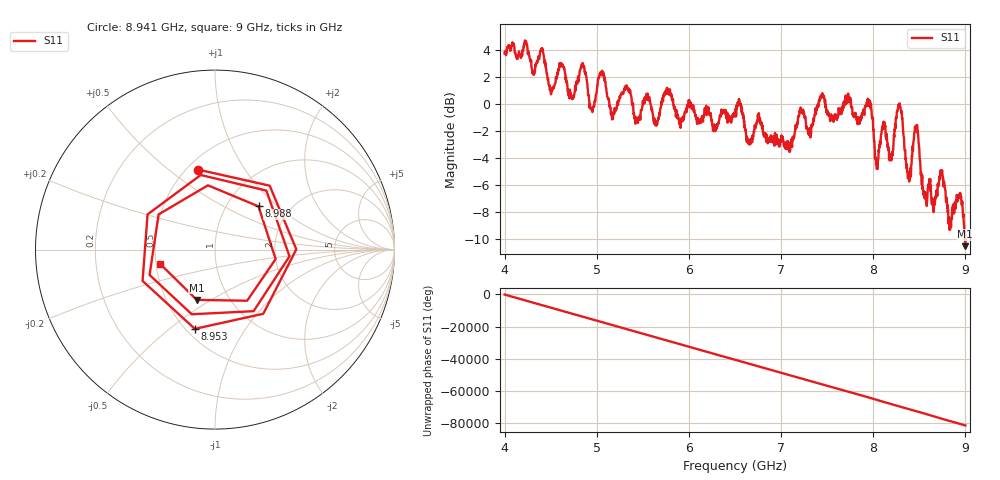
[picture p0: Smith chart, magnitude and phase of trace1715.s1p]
! Created with skrf 1.8.0 (http://scikit-rf.org).
# Hz S RI R 50.0
!freq ReS11 ImS11
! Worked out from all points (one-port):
!   1601 points, 4 GHz to 9 GHz, reference 50 ohm
!   lowest |S11| = -10.5 dB at 8.997 GHz (marker M1), VSWR 1.85, Z = 35.3 - j21.7 ohm
!   |S11| at or under -10 dB: 8.995533 GHz to end of sweep
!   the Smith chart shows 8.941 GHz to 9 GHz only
!   S11 on the Smith chart (normalised r, x): 8.941 GHz: 0.56, +0.64; 8.953 GHz: 0.55, -0.62; 8.988 GHz: 1.40, +0.76; 9 GHz: 0.53, -0.09
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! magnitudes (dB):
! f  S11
! 4 GHz  3.7
! 4.403 GHz  4.1
! 4.509 GHz  1.0
! 4.625 GHz  2.9
! 4.728 GHz  0.4
! 4.856 GHz  2.7
! 4.947 GHz  -0.4
! 5.05 GHz  2.3
! 5.162 GHz  -0.7
! 5.25 GHz  0.6
! 5.875 GHz  -1.1
! 6.5 GHz  -0.7
! 7.125 GHz  -2.4
! 7.434 GHz  0.6
! 7.75 GHz  0.4
! 7.956 GHz  0.3
! 8.041 GHz  -4.7
! 8.109 GHz  -1.8
! 8.194 GHz  -3.9
! 8.284 GHz  0.0
! 8.375 GHz  -5.5
! 8.466 GHz  -1.6
! 8.559 GHz  -7.0
! 8.941 GHz  -6.8
! 8.953 GHz  -6.8
! 8.988 GHz  -9.3
! 8.997 GHz  -10.5
! 9 GHz  -10.0
